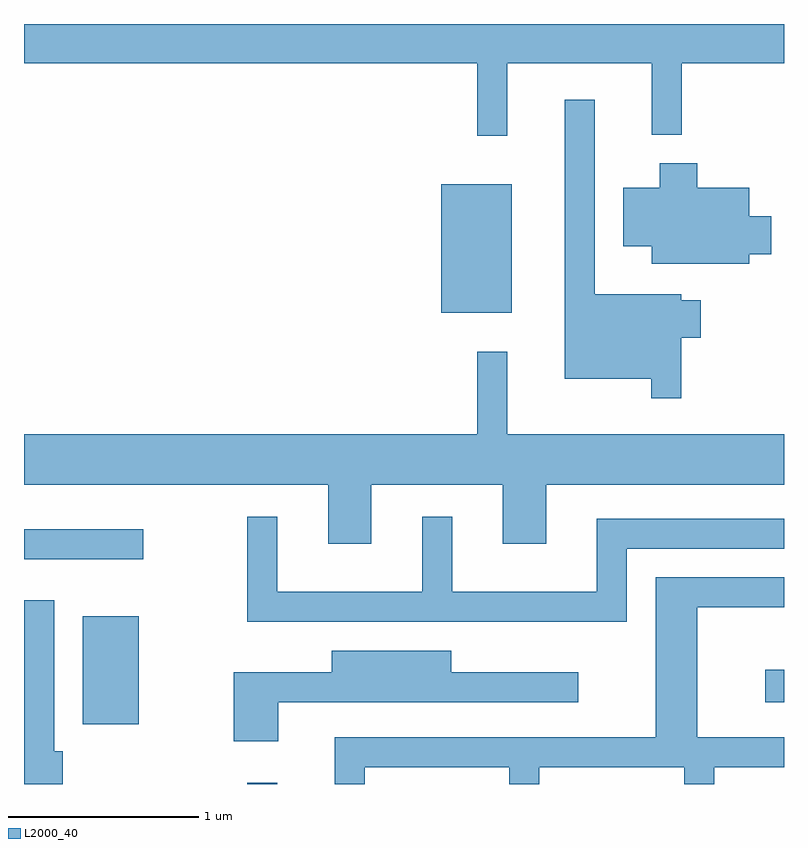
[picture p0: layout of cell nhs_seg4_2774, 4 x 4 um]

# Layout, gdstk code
import gdstk
lib = gdstk.Library(unit=1e-6, precision=1e-09)
def R(c, l, rs):  # rectangles x0, y0, x1, y1
    for r in rs: c.add(gdstk.rectangle(r[:2], r[2:], *l))
def P(c, l, *ps):  # polygons
    for p in ps: c.add(gdstk.Polygon(p, *l))
L2000_40 = (2000, 40)

nhs_seg4_2774 = lib.new_cell('nhs_seg4_2774')
R(nhs_seg4_2774, L2000_40, [(266.786,1361.982,266.944,1361.988), (265.921,1362.296,266.214,1362.864), (269.511,1362.411,269.611,1362.584), (265.611,1363.166,266.238,1363.324), (267.806,1364.461,268.179,1365.139)])
P(nhs_seg4_2774, L2000_40, [(268.154,1365.776),(268.916,1365.776),(268.916,1365.398),(269.074,1365.398),(269.074,1365.776),(269.611,1365.776),(269.611,1365.982),(265.611,1365.982),(265.611,1365.776),(267.996,1365.776),(267.996,1365.393),(268.154,1365.393)],
  [(269.069,1364.331),(269.174,1364.331),(269.174,1364.529),(269.069,1364.529),(269.069,1364.559),(268.614,1364.559),(268.614,1365.583),(268.456,1365.583),(268.456,1364.116),(268.911,1364.116),(268.911,1364.013),(269.069,1364.013)],
  [(269.429,1364.771),(269.544,1364.771),(269.544,1364.969),(269.429,1364.969),(269.429,1365.119),(269.154,1365.119),(269.154,1365.249),(268.956,1365.249),(268.956,1365.119),(268.766,1365.119),(268.766,1364.811),(268.916,1364.811),(268.916,1364.721),(269.429,1364.721)],
  [(267.439,1363.556),(268.131,1363.556),(268.131,1363.246),(268.359,1363.246),(268.359,1363.556),(269.611,1363.556),(269.611,1363.824),(268.154,1363.824),(268.154,1364.258),(267.996,1364.258),(267.996,1363.824),(265.611,1363.824),(265.611,1363.556),(267.211,1363.556),(267.211,1363.246),(267.439,1363.246)],
  [(268.784,1363.221),(269.611,1363.221),(269.611,1363.379),(268.626,1363.379),(268.626,1362.994),(267.864,1362.994),(267.864,1363.388),(267.706,1363.388),(267.706,1362.994),(266.944,1362.994),(266.944,1363.388),(266.786,1363.388),(266.786,1362.836),(268.784,1362.836)],
  [(267.404,1362.071),(268.166,1362.071),(268.166,1361.982),(268.324,1361.982),(268.324,1362.071),(269.086,1362.071),(269.086,1361.982),(269.244,1361.982),(269.244,1362.071),(269.611,1362.071),(269.611,1362.229),(269.154,1362.229),(269.154,1362.911),(269.611,1362.911),(269.611,1363.069),(268.936,1363.069),(268.936,1362.229),(267.246,1362.229),(267.246,1361.982),(267.404,1361.982)],
  [(265.814,1362.154),(265.769,1362.154),(265.769,1362.949),(265.611,1362.949),(265.611,1361.982),(265.814,1361.982)],
  [(266.949,1362.411),(268.528,1362.411),(268.528,1362.569),(267.859,1362.569),(267.859,1362.684),(267.231,1362.684),(267.231,1362.569),(266.716,1362.569),(266.716,1362.206),(266.949,1362.206)])

lib.write_gds('nhs_seg4_2774.gds')
